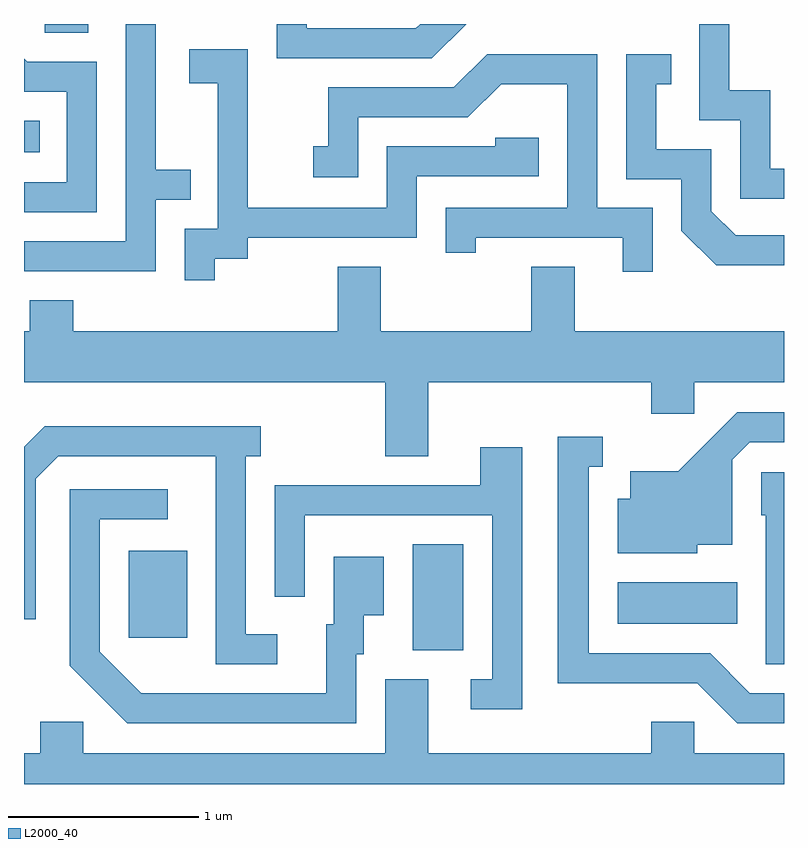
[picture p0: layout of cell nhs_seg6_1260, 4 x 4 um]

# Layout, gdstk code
import gdstk
lib = gdstk.Library(unit=1e-6, precision=1e-09)
def R(c, l, rs):  # rectangles x0, y0, x1, y1
    for r in rs: c.add(gdstk.rectangle(r[:2], r[2:], *l))
def P(c, l, *ps):  # polygons
    for p in ps: c.add(gdstk.Polygon(p, *l))
L2000_40 = (2000, 40)

nhs_seg6_1260 = lib.new_cell('nhs_seg6_1260')
R(nhs_seg6_1260, L2000_40, [(225.656,1530.866,225.924,1531.424), (224.161,1530.931,224.469,1531.389), (226.736,1531.006,227.364,1531.224), (223.611,1533.486,223.693,1533.654), (223.721,1534.116,223.949,1534.162)])
P(nhs_seg6_1260, L2000_40, [(227.611,1533.399),(227.539,1533.399),(227.539,1533.814),(227.324,1533.814),(227.324,1534.162),(227.166,1534.162),(227.166,1533.656),(227.381,1533.656),(227.381,1533.241),(227.611,1533.241)],
  [(225.938,1534.162),(225.697,1534.162),(225.674,1534.139),(225.099,1534.139),(225.099,1534.162),(224.941,1534.162),(224.941,1533.981),(225.757,1533.981)],
  [(224.304,1533.236),(224.488,1533.236),(224.488,1533.394),(224.304,1533.394),(224.304,1534.162),(224.146,1534.162),(224.146,1533.019),(223.611,1533.019),(223.611,1532.861),(224.304,1532.861)],
  [(224.614,1532.926),(224.789,1532.926),(224.789,1533.036),(225.679,1533.036),(225.679,1533.361),(226.319,1533.361),(226.319,1533.564),(226.091,1533.564),(226.091,1533.519),(225.521,1533.519),(225.521,1533.194),(224.789,1533.194),(224.789,1534.029),(224.481,1534.029),(224.481,1533.851),(224.631,1533.851),(224.631,1533.084),(224.456,1533.084),(224.456,1532.813),(224.614,1532.813)],
  [(227.611,1533.049),(227.357,1533.049),(227.229,1533.177),(227.229,1533.504),(226.939,1533.504),(226.939,1533.846),(227.018,1533.846),(227.018,1534.004),(226.781,1534.004),(226.781,1533.346),(227.071,1533.346),(227.071,1533.074),(227.254,1532.891),(227.611,1532.891)],
  [(226.919,1533.194),(226.629,1533.194),(226.629,1534.004),(226.049,1534.004),(225.874,1533.829),(225.211,1533.829),(225.211,1533.519),(225.133,1533.519),(225.133,1533.356),(225.369,1533.356),(225.369,1533.671),(225.947,1533.671),(226.122,1533.846),(226.471,1533.846),(226.471,1533.194),(225.831,1533.194),(225.831,1532.958),(225.989,1532.958),(225.989,1533.036),(226.761,1533.036),(226.761,1532.858),(226.919,1532.858)],
  [(223.994,1533.964),(223.627,1533.964),(223.611,1533.98),(223.611,1533.806),(223.836,1533.806),(223.836,1533.329),(223.611,1533.329),(223.611,1533.171),(223.994,1533.171)],
  [(225.739,1532.276),(226.911,1532.276),(226.911,1532.111),(227.139,1532.111),(227.139,1532.276),(227.611,1532.276),(227.611,1532.544),(226.509,1532.544),(226.509,1532.884),(226.281,1532.884),(226.281,1532.544),(225.489,1532.544),(225.489,1532.884),(225.261,1532.884),(225.261,1532.544),(223.869,1532.544),(223.869,1532.709),(223.641,1532.709),(223.641,1532.544),(223.611,1532.544),(223.611,1532.276),(225.511,1532.276),(225.511,1531.886),(225.739,1531.886)],
  [(227.154,1531.421),(227.339,1531.421),(227.339,1531.869),(227.432,1531.961),(227.611,1531.961),(227.611,1532.119),(227.364,1532.119),(227.054,1531.809),(226.801,1531.809),(226.801,1531.664),(226.736,1531.664),(226.736,1531.376),(227.154,1531.376)],
  [(224.943,1530.949),(224.779,1530.949),(224.779,1531.886),(224.858,1531.886),(224.858,1532.044),(223.719,1532.044),(223.611,1531.937),(223.611,1531.028),(223.674,1531.028),(223.674,1531.769),(223.792,1531.886),(224.621,1531.886),(224.621,1530.791),(224.943,1530.791)],
  [(227.611,1530.639),(227.432,1530.639),(227.222,1530.849),(226.584,1530.849),(226.584,1531.831),(226.658,1531.831),(226.658,1531.989),(226.421,1531.989),(226.421,1530.691),(227.154,1530.691),(227.364,1530.481),(227.611,1530.481)],
  [(226.234,1531.934),(226.011,1531.934),(226.011,1531.734),(224.931,1531.734),(224.931,1531.148),(225.089,1531.148),(225.089,1531.576),(226.076,1531.576),(226.076,1530.714),(225.963,1530.714),(225.963,1530.556),(226.234,1530.556)],
  [(227.611,1531.804),(227.491,1531.804),(227.491,1531.576),(227.516,1531.576),(227.516,1530.791),(227.611,1530.791)],
  [(225.359,1530.846),(225.399,1530.846),(225.399,1531.051),(225.504,1531.051),(225.504,1531.359),(225.241,1531.359),(225.241,1531.004),(225.201,1531.004),(225.201,1530.639),(224.227,1530.639),(224.009,1530.857),(224.009,1531.556),(224.368,1531.556),(224.368,1531.714),(223.851,1531.714),(223.851,1530.784),(224.154,1530.481),(225.359,1530.481)],
  [(227.611,1530.324),(227.139,1530.324),(227.139,1530.489),(226.911,1530.489),(226.911,1530.324),(225.739,1530.324),(225.739,1530.714),(225.511,1530.714),(225.511,1530.324),(223.924,1530.324),(223.924,1530.489),(223.696,1530.489),(223.696,1530.324),(223.611,1530.324),(223.611,1530.162),(227.611,1530.162)])

lib.write_gds('nhs_seg6_1260.gds')
